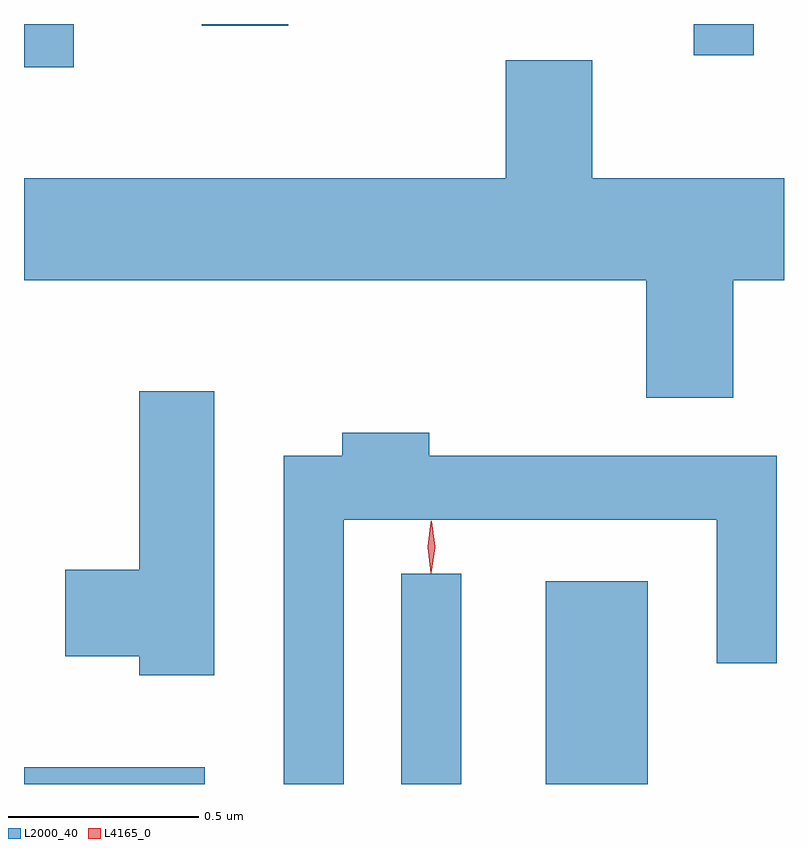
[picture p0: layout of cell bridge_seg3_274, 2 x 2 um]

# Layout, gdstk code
import gdstk
lib = gdstk.Library(unit=1e-6, precision=1e-09)
def R(c, l, rs):  # rectangles x0, y0, x1, y1
    for r in rs: c.add(gdstk.rectangle(r[:2], r[2:], *l))
def P(c, l, *ps):  # polygons
    for p in ps: c.add(gdstk.Polygon(p, *l))
L2000_40 = (2000, 40)
L4165_0 = (4165, 0)

bridge_seg3_274 = lib.new_cell('bridge_seg3_274')
R(bridge_seg3_274, L2000_40, [(1076.723,1142.45,1077.199,1142.494), (1077.716,1142.45,1077.874,1143.003), (1078.096,1142.45,1078.364,1142.984), (1076.723,1144.336,1076.854,1144.45), (1078.486,1144.368,1078.644,1144.45), (1077.191,1144.446,1077.419,1144.45)])
P(bridge_seg3_274, L2000_40, [(1078.589,1143.776),(1078.723,1143.776),(1078.723,1144.044),(1078.219,1144.044),(1078.219,1144.354),(1077.991,1144.354),(1077.991,1144.044),(1076.723,1144.044),(1076.723,1143.776),(1078.361,1143.776),(1078.361,1143.466),(1078.589,1143.466)],
  [(1077.224,1143.484),(1077.026,1143.484),(1077.026,1143.014),(1076.831,1143.014),(1076.831,1142.786),(1077.026,1142.786),(1077.026,1142.736),(1077.224,1142.736)],
  [(1077.564,1143.146),(1078.546,1143.146),(1078.546,1142.768),(1078.704,1142.768),(1078.704,1143.314),(1077.789,1143.314),(1077.789,1143.374),(1077.561,1143.374),(1077.561,1143.314),(1077.406,1143.314),(1077.406,1142.45),(1077.564,1142.45)])
P(bridge_seg3_274, L4165_0, [(1077.794,1143.007),(1077.785,1143.074),(1077.794,1143.14),(1077.795,1143.141),(1077.795,1143.14),(1077.805,1143.074),(1077.795,1143.007),(1077.795,1143.007)],
  [(1077.794,1143.004),(1077.785,1143.073),(1077.795,1143.142),(1077.795,1143.143),(1077.796,1143.142),(1077.805,1143.073),(1077.795,1143.004),(1077.795,1143.004)])

lib.write_gds('bridge_seg3_274.gds')
